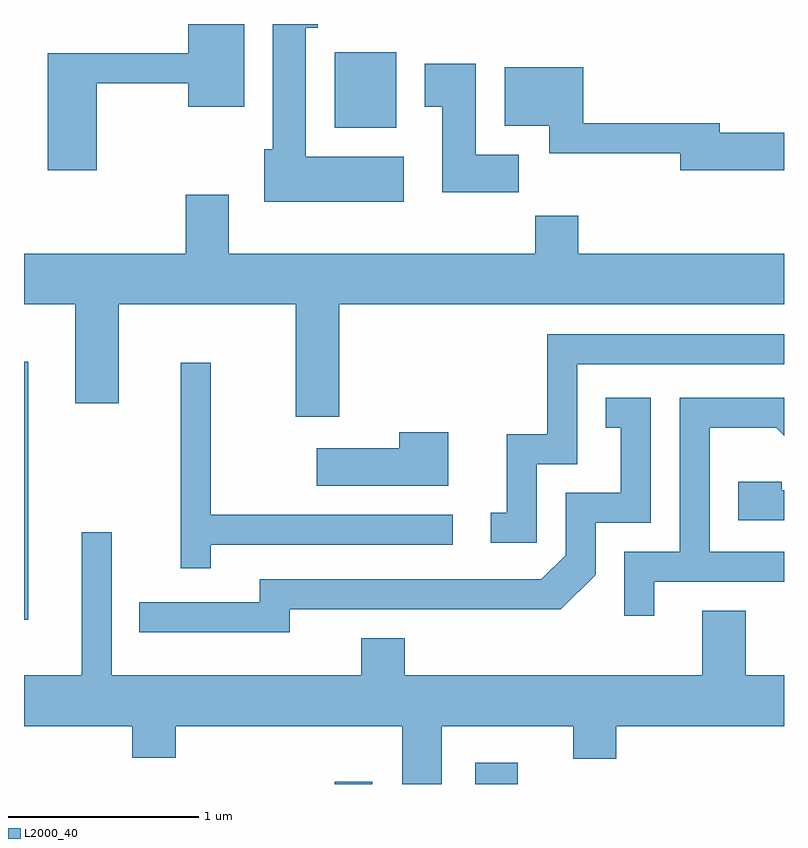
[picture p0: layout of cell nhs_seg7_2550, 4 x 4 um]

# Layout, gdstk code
import gdstk
lib = gdstk.Library(unit=1e-6, precision=1e-09)
def R(c, l, rs):  # rectangles x0, y0, x1, y1
    for r in rs: c.add(gdstk.rectangle(r[:2], r[2:], *l))
def P(c, l, *ps):  # polygons
    for p in ps: c.add(gdstk.Polygon(p, *l))
L2000_40 = (2000, 40)

nhs_seg7_2550 = lib.new_cell('nhs_seg7_2550')
R(nhs_seg7_2550, L2000_40, [(265.246,1696.252,265.444,1696.264), (265.986,1696.252,266.209,1696.364), (263.611,1697.116,263.634,1698.474), (265.246,1699.706,265.569,1700.104)])
P(nhs_seg7_2550, L2000_40, [(263.994,1699.941),(264.476,1699.941),(264.476,1699.816),(264.769,1699.816),(264.769,1700.252),(264.476,1700.252),(264.476,1700.099),(263.736,1700.099),(263.736,1699.481),(263.994,1699.481)],
  [(265.609,1699.554),(265.094,1699.554),(265.094,1700.231),(265.158,1700.231),(265.158,1700.252),(264.921,1700.252),(264.921,1699.594),(264.876,1699.594),(264.876,1699.316),(265.609,1699.316)],
  [(266.214,1699.564),(265.989,1699.564),(265.989,1700.044),(265.721,1700.044),(265.721,1699.816),(265.811,1699.816),(265.811,1699.366),(266.214,1699.366)],
  [(267.611,1699.679),(267.274,1699.679),(267.274,1699.729),(266.554,1699.729),(266.554,1700.024),(266.141,1700.024),(266.141,1699.716),(266.376,1699.716),(266.376,1699.571),(267.066,1699.571),(267.066,1699.481),(267.611,1699.481)],
  [(265.269,1698.776),(267.611,1698.776),(267.611,1699.044),(266.529,1699.044),(266.529,1699.244),(266.301,1699.244),(266.301,1699.044),(264.689,1699.044),(264.689,1699.354),(264.461,1699.354),(264.461,1699.044),(263.611,1699.044),(263.611,1698.776),(263.881,1698.776),(263.881,1698.256),(264.109,1698.256),(264.109,1698.776),(265.041,1698.776),(265.041,1698.186),(265.269,1698.186)],
  [(266.309,1697.936),(266.524,1697.936),(266.524,1698.461),(267.611,1698.461),(267.611,1698.619),(266.366,1698.619),(266.366,1698.094),(266.151,1698.094),(266.151,1697.679),(266.068,1697.679),(266.068,1697.521),(266.309,1697.521)],
  [(264.594,1697.511),(265.868,1697.511),(265.868,1697.669),(264.594,1697.669),(264.594,1698.468),(264.436,1698.468),(264.436,1697.388),(264.594,1697.388)],
  [(266.929,1697.316),(267.611,1697.316),(267.611,1697.474),(267.219,1697.474),(267.219,1698.126),(267.569,1698.126),(267.611,1698.084),(267.611,1698.284),(267.061,1698.284),(267.061,1697.474),(266.771,1697.474),(266.771,1697.138),(266.929,1697.138)],
  [(265.009,1697.171),(266.437,1697.171),(266.619,1697.354),(266.619,1697.626),(266.909,1697.626),(266.909,1698.284),(266.673,1698.284),(266.673,1698.126),(266.751,1698.126),(266.751,1697.784),(266.461,1697.784),(266.461,1697.457),(266.334,1697.329),(264.851,1697.329),(264.851,1697.209),(264.218,1697.209),(264.218,1697.051),(265.009,1697.051)],
  [(265.844,1698.104),(265.586,1698.104),(265.586,1698.019),(265.151,1698.019),(265.151,1697.821),(265.844,1697.821)],
  [(267.611,1697.799),(267.599,1697.799),(267.599,1697.844),(267.371,1697.844),(267.371,1697.641),(267.611,1697.641)],
  [(265.809,1696.556),(266.501,1696.556),(266.501,1696.386),(266.729,1696.386),(266.729,1696.556),(267.611,1696.556),(267.611,1696.824),(267.409,1696.824),(267.409,1697.164),(267.181,1697.164),(267.181,1696.824),(265.614,1696.824),(265.614,1697.019),(265.386,1697.019),(265.386,1696.824),(264.074,1696.824),(264.074,1697.578),(263.916,1697.578),(263.916,1696.824),(263.611,1696.824),(263.611,1696.556),(264.181,1696.556),(264.181,1696.391),(264.409,1696.391),(264.409,1696.556),(265.601,1696.556),(265.601,1696.252),(265.809,1696.252)])

lib.write_gds('nhs_seg7_2550.gds')
